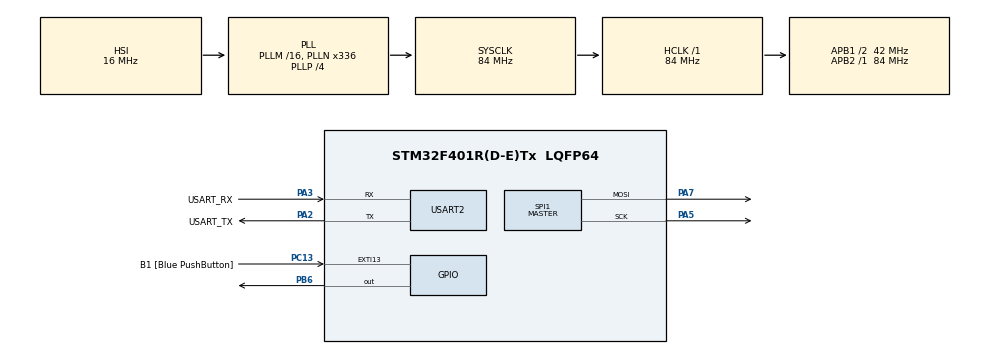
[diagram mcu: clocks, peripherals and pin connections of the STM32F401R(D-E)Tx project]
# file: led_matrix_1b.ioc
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Dma.Request0=SPI1_TX
Dma.SPI1_TX.0.Direction=DMA_MEMORY_TO_PERIPH
Dma.SPI1_TX.0.FIFOMode=DMA_FIFOMODE_DISABLE
Dma.SPI1_TX.0.Instance=DMA2_Stream3
Dma.SPI1_TX.0.MemDataAlignment=DMA_MDATAALIGN_BYTE
Dma.SPI1_TX.0.MemInc=DMA_MINC_ENABLE
Dma.SPI1_TX.0.Mode=DMA_NORMAL
Dma.SPI1_TX.0.PeriphDataAlignment=DMA_PDATAALIGN_BYTE
Dma.SPI1_TX.0.PeriphInc=DMA_PINC_DISABLE
Dma.SPI1_TX.0.Priority=DMA_PRIORITY_LOW
Mcu.Family=STM32F4
Mcu.Name=STM32F401R(D-E)Tx
Mcu.Package=LQFP64
NVIC.DMA2_Stream3_IRQn=true\:0\:0\:false\:false\:true\:false\:true\:true
NVIC.PriorityGroup=NVIC_PRIORITYGROUP_0
NVIC.SPI1_IRQn=true\:0\:0\:false\:false\:true\:true\:true\:true
NVIC.TIM2_IRQn=true\:0\:0\:false\:false\:true\:true\:true\:true
PA13.GPIO_Label=TMS
PA13.Mode=Serial_Wire
PA13.Signal=SYS_JTMS-SWDIO
PA14.GPIO_Label=TCK
PA14.Mode=Serial_Wire
PA14.Signal=SYS_JTCK-SWCLK
PA2.GPIO_Label=USART_TX
PA2.GPIO_Mode=GPIO_MODE_AF_PP
PA2.GPIO_PuPd=GPIO_NOPULL
PA2.GPIO_Speed=GPIO_SPEED_FREQ_LOW
PA2.Mode=Asynchronous
PA2.Signal=USART2_TX
PA3.GPIO_Label=USART_RX
PA3.GPIO_Mode=GPIO_MODE_AF_PP
PA3.GPIO_PuPd=GPIO_NOPULL
PA3.GPIO_Speed=GPIO_SPEED_FREQ_LOW
PA3.Mode=Asynchronous
PA3.Signal=USART2_RX
PA5.Mode=TX_Only_Simplex_Unidirect_Master
PA5.Signal=SPI1_SCK
PA7.Mode=TX_Only_Simplex_Unidirect_Master
PA7.Signal=SPI1_MOSI
PB3.GPIO_Label=SWO
PB3.Signal=SYS_JTDO-SWO
PB6.Signal=GPIO_Output
PC13-ANTI_TAMP.GPIO_Label=B1 [Blue PushButton]
PC13-ANTI_TAMP.GPIO_ModeDefaultEXTI=GPIO_MODE_IT_FALLING
PC13-ANTI_TAMP.GPIO_PuPd=GPIO_NOPULL
PC13-ANTI_TAMP.Signal=GPXTI13
PC14-OSC32_IN.Mode=LSE-External-Oscillator
PC14-OSC32_IN.Signal=RCC_OSC32_IN
PC15-OSC32_OUT.Mode=LSE-External-Oscillator
PC15-OSC32_OUT.Signal=RCC_OSC32_OUT
PH0\ -\ OSC_IN.Mode=HSE-External-Clock-Source
PH0\ -\ OSC_IN.Signal=RCC_OSC_IN
PH1\ -\ OSC_OUT.Mode=HSE-External-Clock-Source
PH1\ -\ OSC_OUT.Signal=RCC_OSC_OUT
ProjectManager.HeapSize=0x200
ProjectManager.StackSize=0x400
ProjectManager.TargetToolchain=STM32CubeIDE
RCC.48MHZClocksFreq_Value=48000000
RCC.AHBFreq_Value=84000000
RCC.APB1CLKDivider=RCC_HCLK_DIV2
RCC.APB1Freq_Value=42000000
RCC.APB1TimFreq_Value=84000000
RCC.APB2Freq_Value=84000000
RCC.APB2TimFreq_Value=84000000
RCC.CortexFreq_Value=84000000
RCC.HCLKFreq_Value=84000000
RCC.HSE_VALUE=8000000
RCC.HSI_VALUE=16000000
RCC.PLLN=336
RCC.PLLP=RCC_PLLP_DIV4
RCC.PLLQ=7
RCC.SYSCLKFreq_VALUE=84000000
RCC.SYSCLKSource=RCC_SYSCLKSOURCE_PLLCLK
RCC.VCOOutputFreq_Value=336000000
SPI1.BaudRatePrescaler=SPI_BAUDRATEPRESCALER_4
SPI1.Direction=SPI_DIRECTION_2LINES
SPI1.Mode=SPI_MODE_MASTER
SPI1.VirtualType=VM_MASTER
TIM2.AutoReloadPreload=TIM_AUTORELOAD_PRELOAD_ENABLE
TIM2.Period=4000-1
TIM2.Prescaler=84-1
USART2.VirtualMode=VM_ASYNC
VP_TIM2_VS_ClockSourceINT.Mode=Internal
board=NUCLEO-F401RE

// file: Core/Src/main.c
/* USER CODE BEGIN Header */
/**
  ******************************************************************************
  * @file           : main.c
  * @brief          : Main program body
  ******************************************************************************
  * @attention
  *
  * Copyright (c) 2022 STMicroelectronics.
  * All rights reserved.
  *
  * This software is licensed under terms that can be found in the LICENSE file
  * in the root directory of this software component.
  * If no LICENSE file comes with this software, it is provided AS-IS.
  *
  ******************************************************************************
  */
/* USER CODE END Header */
#include "main.h"

/* USER CODE BEGIN Includes */
#include <string.h>
/* USER CODE END Includes */

SPI_HandleTypeDef hspi1;
DMA_HandleTypeDef hdma_spi1_tx;

TIM_HandleTypeDef htim2;

UART_HandleTypeDef huart2;

/* USER CODE BEGIN PV */
int column = 0;

uint8_t letter_E [5][2] = {
		{127, 16},
		{73, 8},
		{73, 4},
		{73, 2},
		{65, 1}
};

uint8_t letter_J [5][2] = {
		{2, 16},
		{1, 8},
		{1, 4},
		{1, 2},
		{126, 1}
};

uint8_t matrix[5][2];
/* USER CODE END PV */

void SystemClock_Config(void);
static void MX_GPIO_Init(void);
static void MX_DMA_Init(void);
static void MX_USART2_UART_Init(void);
static void MX_SPI1_Init(void);
static void MX_TIM2_Init(void);

int main(void)
{

  /* MCU Configuration--------------------------------------------------------*/

  /* Reset of all peripherals, Initializes the Flash interface and the Systick. */
  HAL_Init();

  /* Configure the system clock */
  SystemClock_Config();

  /* Initialize all configured peripherals */
  MX_GPIO_Init();
  MX_DMA_Init();
  MX_USART2_UART_Init();
  MX_SPI1_Init();
  MX_TIM2_Init();
  /* USER CODE BEGIN 2 */
  HAL_TIM_Base_Start_IT(&htim2);
  /* USER CODE END 2 */

  /* Infinite loop */
  while (1)
  {

    /* USER CODE BEGIN 3 */
	memcpy(matrix, letter_E, sizeof(matrix));
	HAL_Delay(1000);
	memcpy(matrix, letter_J, sizeof(matrix));
	HAL_Delay(1000);
  }
  /* USER CODE END 3 */
}

void SystemClock_Config(void)
{
  RCC_OscInitTypeDef RCC_OscInitStruct = {0};
  RCC_ClkInitTypeDef RCC_ClkInitStruct = {0};

  /** Configure the main internal regulator output voltage
  */
  __HAL_RCC_PWR_CLK_ENABLE();
  __HAL_PWR_VOLTAGESCALING_CONFIG(PWR_REGULATOR_VOLTAGE_SCALE2);

  /** Initializes the RCC Oscillators according to the specified parameters
  * in the RCC_OscInitTypeDef structure.
  */
  RCC_OscInitStruct.OscillatorType = RCC_OSCILLATORTYPE_HSI;
  RCC_OscInitStruct.HSIState = RCC_HSI_ON;
  RCC_OscInitStruct.HSICalibrationValue = RCC_HSICALIBRATION_DEFAULT;
  RCC_OscInitStruct.PLL.PLLState = RCC_PLL_ON;
  RCC_OscInitStruct.PLL.PLLSource = RCC_PLLSOURCE_HSI;
  RCC_OscInitStruct.PLL.PLLM = 16;
  RCC_OscInitStruct.PLL.PLLN = 336;
  RCC_OscInitStruct.PLL.PLLP = RCC_PLLP_DIV4;
  RCC_OscInitStruct.PLL.PLLQ = 7;
  if (HAL_RCC_OscConfig(&RCC_OscInitStruct) != HAL_OK)
  {
    Error_Handler();
  }

  /** Initializes the CPU, AHB and APB buses clocks
  */
  RCC_ClkInitStruct.ClockType = RCC_CLOCKTYPE_HCLK|RCC_CLOCKTYPE_SYSCLK
                              |RCC_CLOCKTYPE_PCLK1|RCC_CLOCKTYPE_PCLK2;
  RCC_ClkInitStruct.SYSCLKSource = RCC_SYSCLKSOURCE_PLLCLK;
  RCC_ClkInitStruct.AHBCLKDivider = RCC_SYSCLK_DIV1;
  RCC_ClkInitStruct.APB1CLKDivider = RCC_HCLK_DIV2;
  RCC_ClkInitStruct.APB2CLKDivider = RCC_HCLK_DIV1;

  if (HAL_RCC_ClockConfig(&RCC_ClkInitStruct, FLASH_LATENCY_2) != HAL_OK)
  {
    Error_Handler();
  }
}

static void MX_SPI1_Init(void)
{

  /* SPI1 parameter configuration*/
  hspi1.Instance = SPI1;
  hspi1.Init.Mode = SPI_MODE_MASTER;
  hspi1.Init.Direction = SPI_DIRECTION_2LINES;
  hspi1.Init.DataSize = SPI_DATASIZE_8BIT;
  hspi1.Init.CLKPolarity = SPI_POLARITY_LOW;
  hspi1.Init.CLKPhase = SPI_PHASE_1EDGE;
  hspi1.Init.NSS = SPI_NSS_SOFT;
  hspi1.Init.BaudRatePrescaler = SPI_BAUDRATEPRESCALER_4;
  hspi1.Init.FirstBit = SPI_FIRSTBIT_MSB;
  hspi1.Init.TIMode = SPI_TIMODE_DISABLE;
  hspi1.Init.CRCCalculation = SPI_CRCCALCULATION_DISABLE;
  hspi1.Init.CRCPolynomial = 10;
  if (HAL_SPI_Init(&hspi1) != HAL_OK)
  {
    Error_Handler();
  }

}

static void MX_TIM2_Init(void)
{

  TIM_ClockConfigTypeDef sClockSourceConfig = {0};
  TIM_MasterConfigTypeDef sMasterConfig = {0};

  htim2.Instance = TIM2;
  htim2.Init.Prescaler = 84-1;
  htim2.Init.CounterMode = TIM_COUNTERMODE_UP;
  htim2.Init.Period = 4000-1;
  htim2.Init.ClockDivision = TIM_CLOCKDIVISION_DIV1;
  htim2.Init.AutoReloadPreload = TIM_AUTORELOAD_PRELOAD_ENABLE;
  if (HAL_TIM_Base_Init(&htim2) != HAL_OK)
  {
    Error_Handler();
  }
  sClockSourceConfig.ClockSource = TIM_CLOCKSOURCE_INTERNAL;
  if (HAL_TIM_ConfigClockSource(&htim2, &sClockSourceConfig) != HAL_OK)
  {
    Error_Handler();
  }
  sMasterConfig.MasterOutputTrigger = TIM_TRGO_RESET;
  sMasterConfig.MasterSlaveMode = TIM_MASTERSLAVEMODE_DISABLE;
  if (HAL_TIMEx_MasterConfigSynchronization(&htim2, &sMasterConfig) != HAL_OK)
  {
    Error_Handler();
  }

}

static void MX_USART2_UART_Init(void)
{

  huart2.Instance = USART2;
  huart2.Init.BaudRate = 115200;
  huart2.Init.WordLength = UART_WORDLENGTH_8B;
  huart2.Init.StopBits = UART_STOPBITS_1;
  huart2.Init.Parity = UART_PARITY_NONE;
  huart2.Init.Mode = UART_MODE_TX_RX;
  huart2.Init.HwFlowCtl = UART_HWCONTROL_NONE;
  huart2.Init.OverSampling = UART_OVERSAMPLING_16;
  if (HAL_UART_Init(&huart2) != HAL_OK)
  {
    Error_Handler();
  }

}

static void MX_DMA_Init(void)
{

  /* DMA controller clock enable */
  __HAL_RCC_DMA2_CLK_ENABLE();

  /* DMA interrupt init */
  /* DMA2_Stream3_IRQn interrupt configuration */
  HAL_NVIC_SetPriority(DMA2_Stream3_IRQn, 0, 0);
  HAL_NVIC_EnableIRQ(DMA2_Stream3_IRQn);

}

static void MX_GPIO_Init(void)
{
  GPIO_InitTypeDef GPIO_InitStruct = {0};

  /* GPIO Ports Clock Enable */
  __HAL_RCC_GPIOC_CLK_ENABLE();
  __HAL_RCC_GPIOH_CLK_ENABLE();
  __HAL_RCC_GPIOA_CLK_ENABLE();
  __HAL_RCC_GPIOB_CLK_ENABLE();

  /*Configure GPIO pin Output Level */
  HAL_GPIO_WritePin(GPIOB, GPIO_PIN_6, GPIO_PIN_RESET);

  /*Configure GPIO pin : B1_Pin */
  GPIO_InitStruct.Pin = B1_Pin;
  GPIO_InitStruct.Mode = GPIO_MODE_IT_FALLING;
  GPIO_InitStruct.Pull = GPIO_NOPULL;
  HAL_GPIO_Init(B1_GPIO_Port, &GPIO_InitStruct);

  /*Configure GPIO pin : PB6 */
  GPIO_InitStruct.Pin = GPIO_PIN_6;
  GPIO_InitStruct.Mode = GPIO_MODE_OUTPUT_PP;
  GPIO_InitStruct.Pull = GPIO_NOPULL;
  GPIO_InitStruct.Speed = GPIO_SPEED_FREQ_LOW;
  HAL_GPIO_Init(GPIOB, &GPIO_InitStruct);

}

/* USER CODE BEGIN 4 */
void HAL_TIM_PeriodElapsedCallback(TIM_HandleTypeDef *htim){
	HAL_SPI_Transmit_DMA(&hspi1, matrix[column], 2);
}

void HAL_SPI_TxCpltCallback(SPI_HandleTypeDef *hspi){
	HAL_GPIO_WritePin(GPIOB, GPIO_PIN_6, GPIO_PIN_SET);
	if(++column > 4){
		column = 0;
	}
	HAL_GPIO_WritePin(GPIOB, GPIO_PIN_6, GPIO_PIN_RESET);
}
/* USER CODE END 4 */

void Error_Handler(void)
{
  __disable_irq();
  while (1)
  {
  }
}
